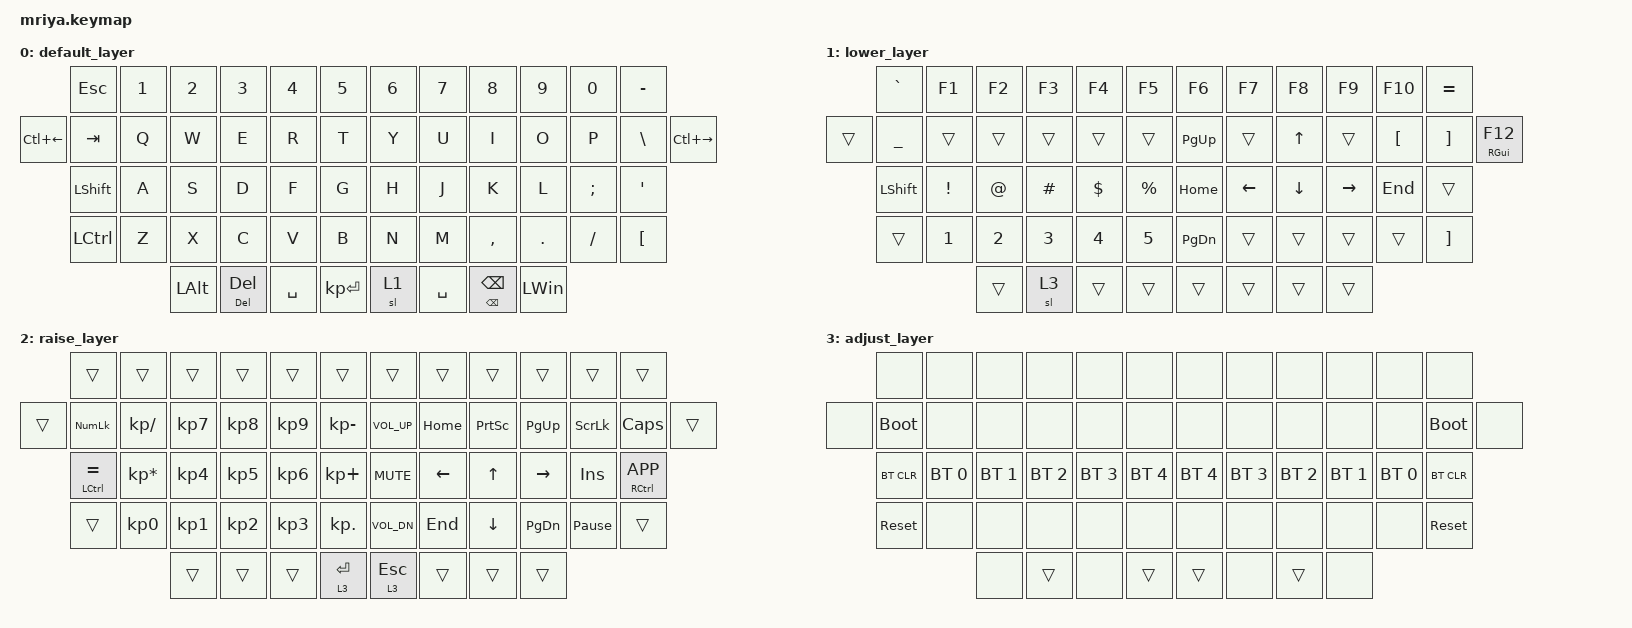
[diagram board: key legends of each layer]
/*
 * Copyright (c) 2023 Andrei Gaevskii
 *
 * SPDX-License-Identifier: MIT
 */

#include <behaviors.dtsi>
#include <dt-bindings/zmk/bt.h>
#include <dt-bindings/zmk/keys.h>

#define DEF 0
#define LWR 1
#define RSE 2
#define ADJ 3

&lt {
    quick_tap_ms = <200>;
};

&mt {
    quick_tap_ms = <200>;
};

/ {
    keymap {
        compatible = "zmk,keymap";

        default_layer {
            bindings = <
              &kp ESC         &kp N1  &kp N2        &kp N3             &kp N4     &kp N5          &kp N6  &kp N7     &kp N8                   &kp N9        &kp N0    &kp MINUS
&kp LC(LEFT)  &kp TAB         &kp Q   &kp W         &kp E              &kp R      &kp T           &kp Y   &kp U      &kp I                    &kp O         &kp P     &kp BACKSLASH     &kp LC(RIGHT)
              &kp LEFT_SHIFT  &kp A   &kp S         &kp D              &kp F      &kp G           &kp H   &kp J      &kp K                    &kp L         &kp SEMI  &kp SQT
              &kp LCTRL       &kp Z   &kp X         &kp C              &kp V      &kp B           &kp N   &kp M      &kp COMMA                &kp DOT       &kp FSLH  &kp LEFT_BRACKET
                                      &kp LEFT_ALT  &mt DELETE DELETE  &kp SPACE  &kp KP_ENTER    &sl 1   &kp SPACE  &mt BACKSPACE BACKSPACE  &kp LEFT_WIN
            >;
        };

        lower_layer {
            bindings = <
        &kp GRAVE       &kp F1    &kp F2  &kp F3    &kp F4    &kp F5       &kp F6         &kp F7          &kp F8          &kp F9           &kp F10           &kp EQUAL
&trans  &kp UNDER       &trans    &trans  &trans    &trans    &trans       &kp PAGE_UP    &trans          &kp UP_ARROW    &trans           &kp LEFT_BRACKET  &kp RIGHT_BRACKET  &mt RGUI F12
        &kp LEFT_SHIFT  &kp EXCL  &kp AT  &kp HASH  &kp DLLR  &kp PRCNT    &kp HOME       &kp LEFT_ARROW  &kp DOWN_ARROW  &kp RIGHT_ARROW  &kp END           &trans
        &trans          &kp N1    &kp N2  &kp N3    &kp N4    &kp N5       &kp PAGE_DOWN  &trans          &trans          &trans           &trans            &kp RIGHT_BRACKET
                                  &trans  &sl 3     &trans    &trans       &trans         &trans          &trans          &trans
            >;
        };

        raise_layer {
            bindings = <
        &trans           &trans           &trans     &trans     &trans     &trans          &trans        &trans    &trans     &trans     &trans           &trans
&trans  &kp KP_NUM       &kp KP_SLASH     &kp KP_N7  &kp KP_N8  &kp KP_N9  &kp KP_MINUS    &kp C_VOL_UP  &kp HOME  &kp PSCRN  &kp PG_UP  &kp SLCK         &kp CAPS         &trans
        &mt LCTRL EQUAL  &kp KP_MULTIPLY  &kp KP_N4  &kp KP_N5  &kp KP_N6  &kp KP_PLUS     &kp C_MUTE    &kp LEFT  &kp UP     &kp RIGHT  &kp INS          &mt RCTRL K_APP
        &trans           &kp KP_N0        &kp KP_N1  &kp KP_N2  &kp KP_N3  &kp KP_DOT      &kp C_VOL_DN  &kp END   &kp DOWN   &kp PG_DN  &kp PAUSE_BREAK  &trans
                                          &trans     &trans     &trans     &lt 3 RET       &lt 3 ESC     &trans    &trans     &trans
            >;
        };

        adjust_layer {
            bindings = <
       &none        &none         &none         &none         &none         &none           &none         &none         &none         &none         &none         &none
&none  &bootloader  &none         &none         &none         &none         &none           &none         &none         &none         &none         &none         &bootloader  &none
       &bt BT_CLR   &bt BT_SEL 0  &bt BT_SEL 1  &bt BT_SEL 2  &bt BT_SEL 3  &bt BT_SEL 4    &bt BT_SEL 4  &bt BT_SEL 3  &bt BT_SEL 2  &bt BT_SEL 1  &bt BT_SEL 0  &bt BT_CLR
       &sys_reset   &none         &none         &none         &none         &none           &none         &none         &none         &none         &none         &sys_reset
                                  &none         &trans        &none         &trans          &trans        &none         &trans        &none
            >;
        };
    };
};
